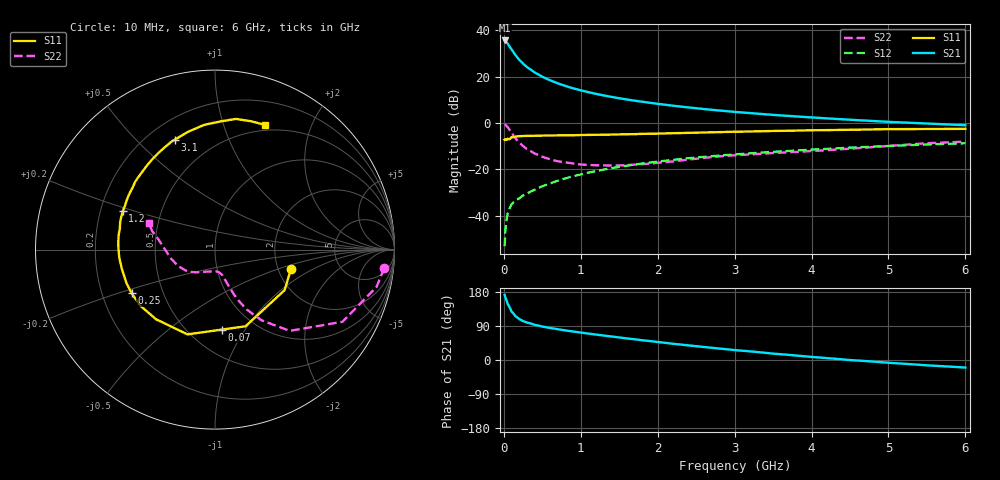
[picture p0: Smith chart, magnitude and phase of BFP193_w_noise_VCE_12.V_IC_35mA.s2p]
! Infineon Technologies  Discrete & RF Semiconductors
! BFP193
! VCE =  12. V,  IC =  35 mA
! Common Emitter S-Parameters:  Jan 2017
# GHz  S  MA  R  50
!  f  S11  S21  S12  S22
! GHz  MAG  ANG  MAG  ANG  MAG  ANG  MAG  ANG
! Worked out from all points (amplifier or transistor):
!   77 points, 10 MHz to 6 GHz, reference 50 ohm
!   highest |S21| = 35.6 dB at 10 MHz (marker M1)
!   |S21| within 3 dB of that: start of sweep to 82.11 MHz
!   unconditionally stable (mu >= 1): 754.4 MHz to 2.457 GHz
!   at 130 MHz: K = 0.49, MSG = 32.2 dB, |S12| = -34.1 dB
!   at 2.2 GHz: K = 1.02, MAG = 10.9 dB, |S12| = -15.9 dB
!   at 6 GHz: K = 0.90, MSG = 3.9 dB, |S12| = -8.7 dB
!   lowest NFmin = 1.29 dB at 450 MHz
!   S11 on the Smith chart (normalised r, x): 10 MHz: 2.34, -0.64; 70 MHz: 0.72, -0.80; 250 MHz: 0.33, -0.22; 1.2 GHz: 0.30, +0.18; 3.1 GHz: 0.31, +0.65; 6 GHz: 0.44, +1.38
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0.01  0.4366 -14.7  60.4 172.0  0.0022 73.8  0.9483 -6.2
0.02  0.4489 -30.2  59.8 165.6  0.0048 81.9  0.9243 -12.9
0.05  0.4598 -68.3  51.81 147.7  0.0112 63.9  0.8163 -29.5
0.07  0.4471 -84.8  45.94 141.1  0.0137 61.3  0.7278 -35.5
0.1  0.4966 -108.0  38.71 127.7  0.0176 58.9  0.615 -47.4
0.15  0.5084 -130.2  29.26 115.8  0.0213 54.3  0.4707 -56.7
0.2  0.5207 -143.2  23.19 108.2  0.0237 55.2  0.3794 -62.0
0.25  0.5244 -152.5  19.08 102.7  0.0273 55.8  0.3186 -64.9
0.3  0.5274 -159.0  16.11 98.9  0.0301 57.9  0.2739 -67.0
0.4  0.5301 -168.2  12.34 92.8  0.0363 60.5  0.22 -69.3
0.5  0.5349 -174.9  9.952 88.3  0.0433 62.1  0.1872 -70.9
0.6  0.5381 179.6  8.358 84.5  0.0495 63.1  0.165 -72.5
0.7  0.5405 175.3  7.182 81.3  0.0569 64.4  0.1496 -73.7
0.9  0.543 167.4  5.604 75.2  0.0708 64.2  0.134 -78.0
1.1  0.5531 160.7  4.623 69.7  0.0851 63.7  0.1246 -82.8
1.2  0.557 157.3  4.245 67.0  0.0915 63.0  0.1222 -85.5
1.6  0.5714 145.4  3.214 57.0  0.1199 60.0  0.1235 -99.8
2.1  0.5959 131.8  2.472 45.3  0.1537 54.7  0.1433 -119.7
3.1  0.652 110.1  1.686 24.5  0.2157 43.2  0.2054 -147.3
4.1  0.6997 93.6  1.289 6.6  0.2718 32.2  0.2535 -170.5
5.1  0.7377 79.6  1.041 -8.6  0.3245 20.9  0.3286 168.5
6  0.7478 68.3  0.895 -20.0  0.3658 11.0  0.3967 158.3
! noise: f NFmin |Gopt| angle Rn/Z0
0.45  1.29  0.37  -172  0.08
0.9  1.35  0.4  -169  0.08
1.9  1.95  0.58  -135  0.18
2.4  2.29  0.62  -120  0.4
